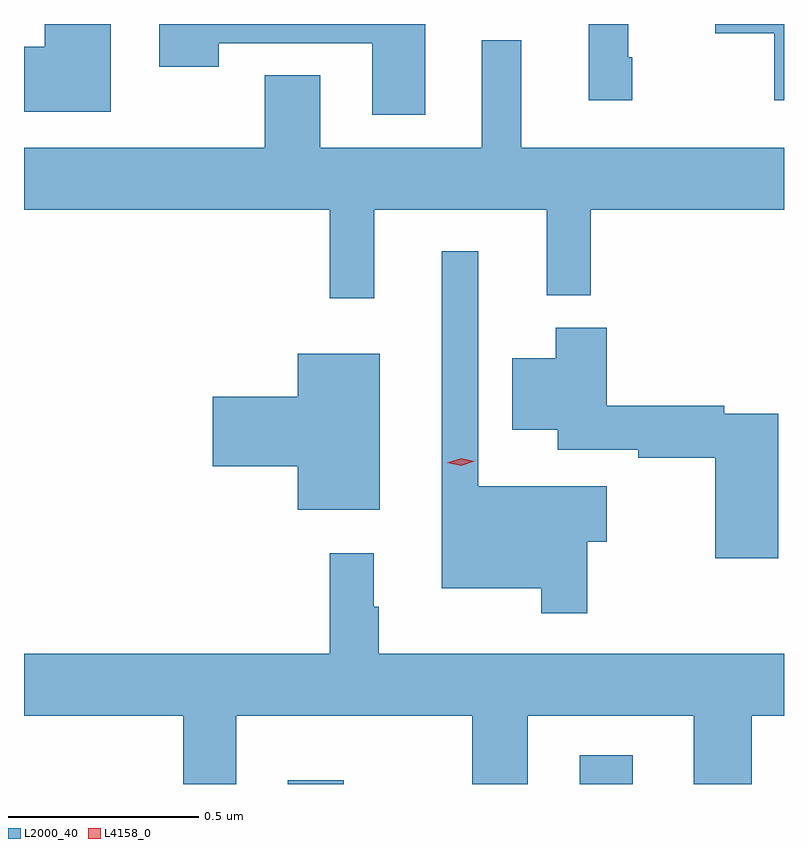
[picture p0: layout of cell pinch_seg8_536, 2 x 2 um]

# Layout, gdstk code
import gdstk
lib = gdstk.Library(unit=1e-6, precision=1e-09)
def R(c, l, rs):  # rectangles x0, y0, x1, y1
    for r in rs: c.add(gdstk.rectangle(r[:2], r[2:], *l))
def P(c, l, *ps):  # polygons
    for p in ps: c.add(gdstk.Polygon(p, *l))
L2000_40 = (2000, 40)
L4158_0 = (4158, 0)

pinch_seg8_536 = lib.new_cell('pinch_seg8_536')
R(pinch_seg8_536, L2000_40, [(124.925,1108.329,125.073,1108.339), (125.693,1108.329,125.833,1108.405)])
P(pinch_seg8_536, L2000_40, [(125.287,1110.329),(124.587,1110.329),(124.587,1110.216),(124.743,1110.216),(124.743,1110.279),(125.147,1110.279),(125.147,1110.09),(125.287,1110.09)],
  [(124.459,1110.329),(124.285,1110.329),(124.285,1110.269),(124.231,1110.269),(124.231,1110.098),(124.459,1110.098)],
  [(125.831,1110.241),(125.821,1110.241),(125.821,1110.329),(125.717,1110.329),(125.717,1110.129),(125.831,1110.129)],
  [(126.231,1110.329),(126.05,1110.329),(126.05,1110.305),(126.205,1110.305),(126.205,1110.129),(126.231,1110.129)],
  [(125.153,1109.84),(125.606,1109.84),(125.606,1109.615),(125.723,1109.615),(125.723,1109.84),(126.231,1109.84),(126.231,1110.004),(125.539,1110.004),(125.539,1110.286),(125.435,1110.286),(125.435,1110.004),(125.011,1110.004),(125.011,1110.194),(124.864,1110.194),(124.864,1110.004),(124.231,1110.004),(124.231,1109.84),(125.035,1109.84),(125.035,1109.607),(125.153,1109.607)],
  [(125.713,1108.966),(125.764,1108.966),(125.764,1109.113),(125.427,1109.113),(125.427,1109.731),(125.33,1109.731),(125.33,1108.844),(125.592,1108.844),(125.592,1108.779),(125.713,1108.779)],
  [(126.216,1109.304),(126.074,1109.304),(126.074,1109.324),(125.765,1109.324),(125.765,1109.53),(125.63,1109.53),(125.63,1109.449),(125.516,1109.449),(125.516,1109.261),(125.636,1109.261),(125.636,1109.208),(125.848,1109.208),(125.848,1109.188),(126.05,1109.188),(126.05,1108.923),(126.216,1108.923)],
  [(125.167,1109.461),(124.952,1109.461),(124.952,1109.348),(124.728,1109.348),(124.728,1109.165),(124.952,1109.165),(124.952,1109.051),(125.167,1109.051)],
  [(124.789,1108.508),(125.41,1108.508),(125.41,1108.329),(125.557,1108.329),(125.557,1108.508),(125.993,1108.508),(125.993,1108.329),(126.146,1108.329),(126.146,1108.508),(126.231,1108.508),(126.231,1108.672),(125.164,1108.672),(125.164,1108.796),(125.152,1108.796),(125.152,1108.936),(125.035,1108.936),(125.035,1108.672),(124.231,1108.672),(124.231,1108.508),(124.65,1108.508),(124.65,1108.329),(124.789,1108.329)])
P(pinch_seg8_536, L4158_0, [(125.381,1109.166),(125.345,1109.175),(125.345,1109.175),(125.345,1109.175),(125.381,1109.186),(125.416,1109.178),(125.417,1109.178),(125.416,1109.178)])

lib.write_gds('pinch_seg8_536.gds')
